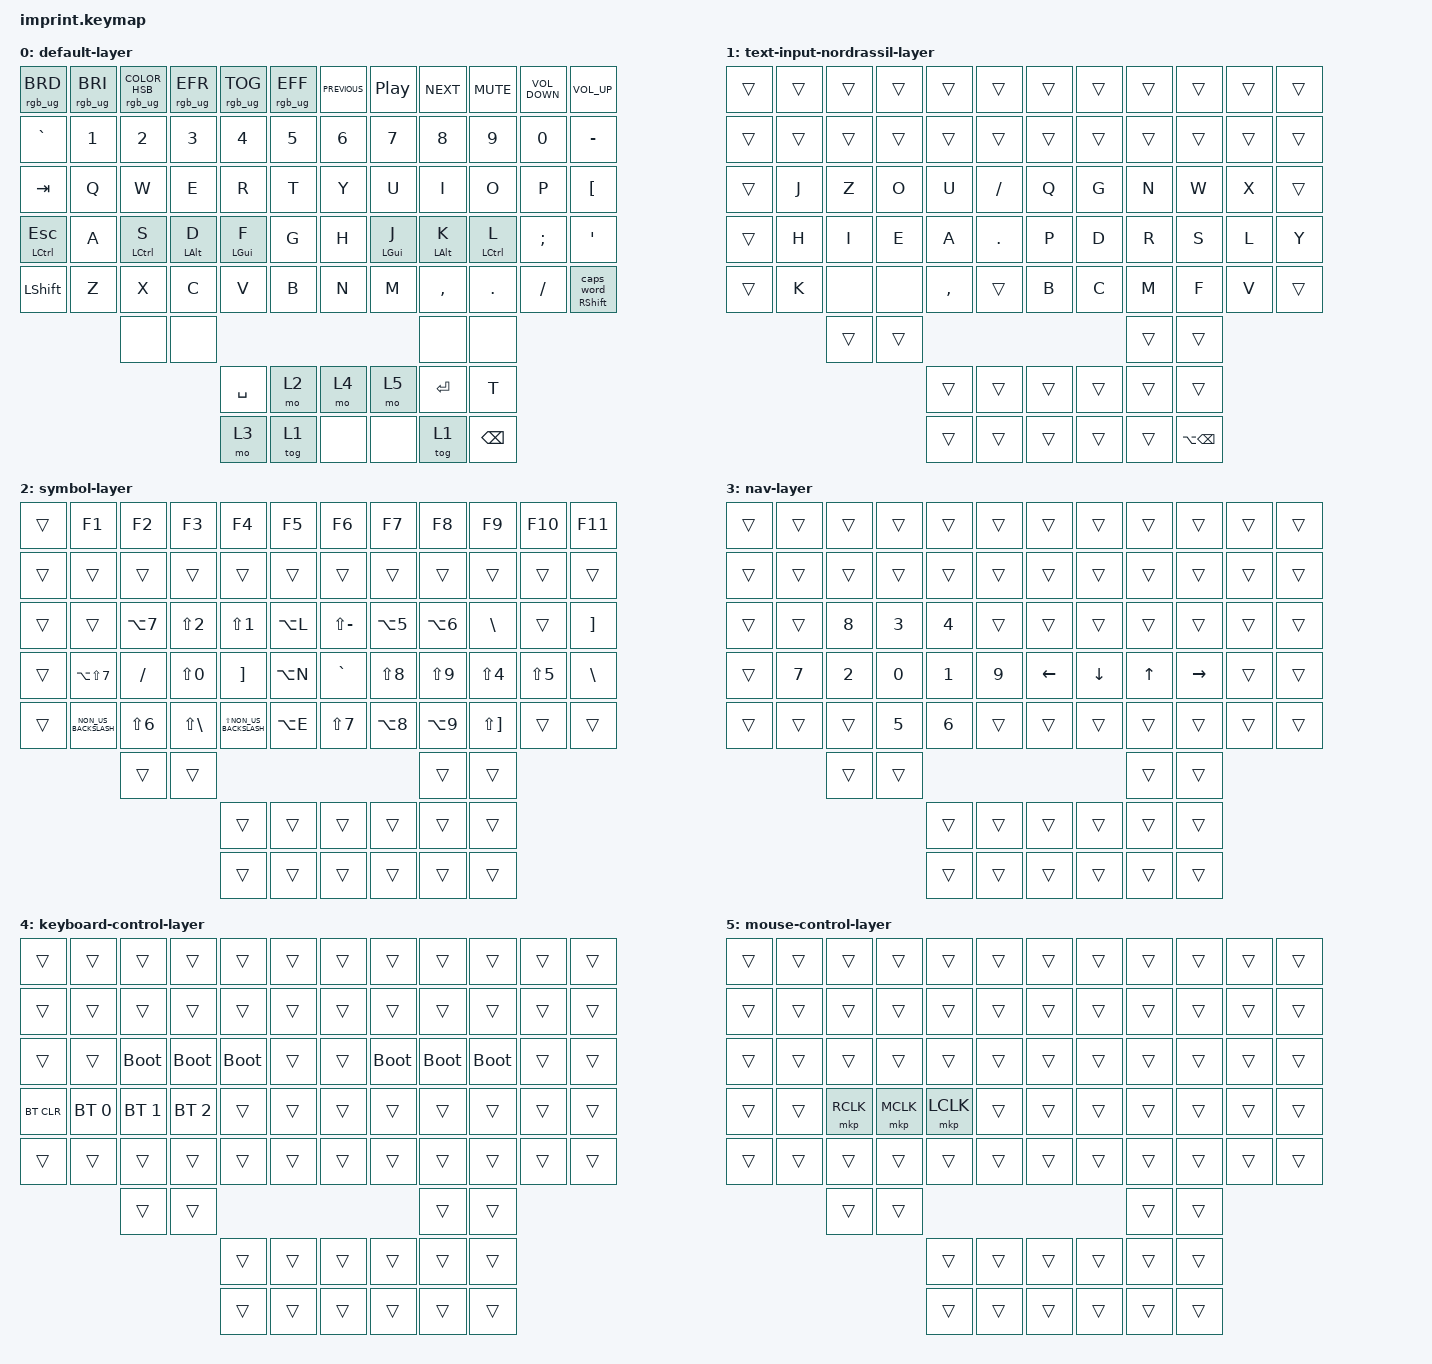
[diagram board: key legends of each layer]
#include <input/processors.dtsi>
#include <dt-bindings/zmk/input_transform.h>
#include <behaviors.dtsi>
#include <dt-bindings/zmk/bt.h>
#include <dt-bindings/zmk/keys.h>
#include <dt-bindings/zmk/pointing.h>
#include <dt-bindings/zmk/rgb.h>

/ {
    chosen { zmk,matrix-transform = &imprint_function_row; };

    behaviors {
        layer_hold_or_toggle: layer_hold_or_toggle {
            compatible = "zmk,behavior-hold-tap";
            label = "LAYER_HOLD_OR_TOGGLE";
            bindings = <&mo>, <&tog>;

            #binding-cells = <2>;
            tapping-term-ms = <200>;
        };

        caps_word_tap: caps_word_tap {
            compatible = "zmk,behavior-hold-tap";
            label = "CAPS_WORD_TAP";
            bindings = <&kp>, <&caps_word>;

            #binding-cells = <2>;
            tapping-term-ms = <200>;
            flavor = "hold-preferred";
        };

        hrm_left: hrm_left {
            compatible = "zmk,behavior-hold-tap";
            label = "HRM_LEFT";
            bindings = <&kp>, <&kp>;

            #binding-cells = <2>;
            quick-tap-ms = <175>;
            tapping-term-ms = <280>;
            require-prior-idle-ms = <120>;
            flavor = "balanced";
            hold-trigger-key-positions = <6 7 8 9 10 11 18 19 20 21 22 23 30 31 32 33 34 35 42 43 44 45 46 47 54 55 56 57 58 59 62 63 69 75 64 65 66 67 68 69 70 71 72 73 74 75 48 36 24>;
            hold-trigger-on-release;
        };

        hrm_right: hrm_right {
            compatible = "zmk,behavior-hold-tap";
            label = "HRM_RIGHT";
            bindings = <&kp>, <&kp>;

            #binding-cells = <2>;
            quick-tap-ms = <175>;
            tapping-term-ms = <280>;
            require-prior-idle-ms = <120>;
            flavor = "balanced";
            hold-trigger-on-release;
            hold-trigger-key-positions = <0 1 2 3 4 5 12 13 14 15 16 17 24 25 26 27 28 29 36 37 38 39 40 41 48 49 50 51 52 53 60 61 64 65 64 65 66 67 68 69 70 71 72 73 74 75 59>;
        };
    };

    combos {
        compatible = "zmk,combos";

        toggle_text-input-layer {
            bindings = <&tog 1>;
            key-positions = <52 55>;
        };
    };

    keymap {
        compatible = "zmk,keymap";

        default-layer {
            bindings = <
&rgb_ug RGB_BRD   &rgb_ug RGB_BRI  &rgb_ug RGB_COLOR_HSB(0,100,5)  &rgb_ug RGB_EFR       &rgb_ug RGB_TOG       &rgb_ug RGB_EFF           &kp C_PREVIOUS  &kp C_PLAY_PAUSE       &kp C_NEXT             &kp C_MUTE                 &kp C_VOLUME_DOWN  &kp C_VOLUME_UP
&kp GRAVE         &kp N1           &kp N2                          &kp N3                &kp N4                &kp N5                    &kp N6          &kp N7                 &kp N8                 &kp N9                     &kp N0             &kp MINUS
&kp TAB           &kp Q            &kp W                           &kp E                 &kp R                 &kp T                     &kp Y           &kp U                  &kp I                  &kp O                      &kp P              &kp LEFT_BRACKET
&mt LCTRL ESCAPE  &kp A            &hrm_left LEFT_CONTROL S        &hrm_left LEFT_ALT D  &hrm_left LEFT_GUI F  &kp G                     &kp H           &hrm_right LEFT_GUI J  &hrm_right LEFT_ALT K  &hrm_right LEFT_CONTROL L  &kp SEMI           &kp SQT
&kp LSHFT         &kp Z            &kp X                           &kp C                 &kp V                 &kp B                     &kp N           &kp M                  &kp COMMA              &kp DOT                    &kp FSLH           &caps_word_tap RIGHT_SHIFT 0
                                   &none                           &none                                                                                                        &none                  &none
                                                                                         &kp SPACE             &mo 2            &mo 4    &mo 5           &kp ENTER              &kp T
                                                                                         &mo 3                 &tog 1           &none    &none           &tog 1                 &kp BACKSPACE
            >;
        };

        text-input-nordrassil-layer {
            bindings = <
&trans  &trans  &trans  &trans  &trans     &trans               &trans  &trans  &trans             &trans  &trans  &trans
&trans  &trans  &trans  &trans  &trans     &trans               &trans  &trans  &trans             &trans  &trans  &trans
&trans  &kp J   &kp Z   &kp O   &kp U      &kp SLASH            &kp Q   &kp G   &kp N              &kp W   &kp X   &trans
&trans  &kp H   &kp I   &kp E   &kp A      &kp DOT              &kp P   &kp D   &kp R              &kp S   &kp L   &kp Y
&trans  &kp K   &none   &none   &kp COMMA  &trans               &kp B   &kp C   &kp M              &kp F   &kp V   &trans
                &trans  &trans                                                  &trans             &trans
                                &trans     &trans     &trans    &trans  &trans  &trans
                                &trans     &trans     &trans    &trans  &trans  &kp LA(BACKSPACE)
            >;
        };

        symbol-layer {
            bindings = <
&trans  &kp F1                &kp F2            &kp F3             &kp F4                    &kp F5               &kp F6            &kp F7            &kp F8            &kp F9                 &kp F10           &kp F11
&trans  &trans                &trans            &trans             &trans                    &trans               &trans            &trans            &trans            &trans                 &trans            &trans
&trans  &trans                &kp LA(NUMBER_7)  &kp LS(NUMBER_2)   &kp LS(NUMBER_1)          &kp LA(L)            &kp LS(MINUS)     &kp LA(NUMBER_5)  &kp LA(NUMBER_6)  &kp BACKSLASH          &trans            &kp RIGHT_BRACKET
&trans  &kp LA(LS(NUMBER_7))  &kp SLASH         &kp LS(NUMBER_0)   &kp RIGHT_BRACKET         &kp LA(N)            &kp GRAVE         &kp LS(NUMBER_8)  &kp LS(NUMBER_9)  &kp LS(NUMBER_4)       &kp LS(NUMBER_5)  &kp BACKSLASH
&trans  &kp NON_US_BACKSLASH  &kp LS(NUMBER_6)  &kp LS(BACKSLASH)  &kp LS(NON_US_BACKSLASH)  &kp LA(E)            &kp LS(NUMBER_7)  &kp LA(NUMBER_8)  &kp LA(NUMBER_9)  &kp LS(RIGHT_BRACKET)  &trans            &trans
                              &trans            &trans                                                                                                &trans            &trans
                                                                   &trans                    &trans     &trans    &trans            &trans            &trans
                                                                   &trans                    &trans     &trans    &trans            &trans            &trans
            >;
        };

        nav-layer {
            bindings = <
&trans  &trans        &trans        &trans        &trans        &trans                  &trans          &trans          &trans        &trans           &trans  &trans
&trans  &trans        &trans        &trans        &trans        &trans                  &trans          &trans          &trans        &trans           &trans  &trans
&trans  &trans        &kp NUMBER_8  &kp NUMBER_3  &kp NUMBER_4  &trans                  &trans          &trans          &trans        &trans           &trans  &trans
&trans  &kp NUMBER_7  &kp NUMBER_2  &kp N0        &kp NUMBER_1  &kp NUMBER_9            &kp LEFT_ARROW  &kp DOWN_ARROW  &kp UP_ARROW  &kp RIGHT_ARROW  &trans  &trans
&trans  &trans        &trans        &kp NUMBER_5  &kp NUMBER_6  &trans                  &trans          &trans          &trans        &trans           &trans  &trans
                      &trans        &trans                                                                              &trans        &trans
                                                  &trans        &trans        &trans    &trans          &trans          &trans
                                                  &trans        &trans        &trans    &trans          &trans          &trans
            >;
        };

        keyboard-control-layer {
            bindings = <
&trans      &trans        &trans        &trans        &trans       &trans            &trans  &trans       &trans       &trans       &trans  &trans
&trans      &trans        &trans        &trans        &trans       &trans            &trans  &trans       &trans       &trans       &trans  &trans
&trans      &trans        &bootloader   &bootloader   &bootloader  &trans            &trans  &bootloader  &bootloader  &bootloader  &trans  &trans
&bt BT_CLR  &bt BT_SEL 0  &bt BT_SEL 1  &bt BT_SEL 2  &trans       &trans            &trans  &trans       &trans       &trans       &trans  &trans
&trans      &trans        &trans        &trans        &trans       &trans            &trans  &trans       &trans       &trans       &trans  &trans
                          &trans        &trans                                                            &trans       &trans
                                                      &trans       &trans  &trans    &trans  &trans       &trans
                                                      &trans       &trans  &trans    &trans  &trans       &trans
            >;
        };

        mouse-control-layer {
            bindings = <
&trans  &trans  &trans     &trans     &trans     &trans            &trans  &trans  &trans  &trans  &trans  &trans
&trans  &trans  &trans     &trans     &trans     &trans            &trans  &trans  &trans  &trans  &trans  &trans
&trans  &trans  &trans     &trans     &trans     &trans            &trans  &trans  &trans  &trans  &trans  &trans
&trans  &trans  &mkp RCLK  &mkp MCLK  &mkp LCLK  &trans            &trans  &trans  &trans  &trans  &trans  &trans
&trans  &trans  &trans     &trans     &trans     &trans            &trans  &trans  &trans  &trans  &trans  &trans
                &trans     &trans                                                  &trans  &trans
                                      &trans     &trans  &trans    &trans  &trans  &trans
                                      &trans     &trans  &trans    &trans  &trans  &trans
            >;
        };
    };
};

//right hand trackball configuration

&trackball_peripheral_listener {
    input-processors =
        // activate layer 5 within 500ms of the trackball moving,,,,,,,,,,,,,,,,,
        <&zip_temp_layer 5 500>;
};

//left hand trackball configuration

&trackball_central_listener {
    input-processors =
        // multiply sensitivity by 1, divide by 5 (make it slower for scrolling),,,,,,,,,,,,,,,,,,,,,,,,,,,
        <&zip_xy_scaler 1 5>,
        // make this trackball output scrolling events by default instead of cursor movement,,,,,,,,,,,,,,,,,,,,,,,,,,,
        <&zip_xy_to_scroll_mapper>,
        <&zip_scroll_scaler 1 8>,
        // This specifically scales the scroll events,,,,,,,,,,,,,,,,,
        // invert vertical scrolling so that the view moves in the same direction as the top of the trackball.,,,,,,,,,,,,,,,,,,,,,,,,,,,
        <&zip_scroll_transform INPUT_TRANSFORM_Y_INVERT>;
};
